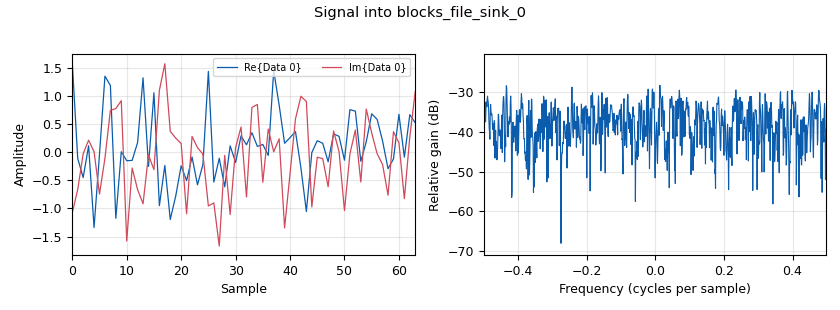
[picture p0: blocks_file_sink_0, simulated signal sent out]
<?xml version='1.0' encoding='utf-8'?>
<?grc format='1' created='3.7.11'?>
<flow_graph>
<block>
<key>options</key>
<param><key>id</key><value>top_block</value></param>
<param><key>generate_options</key><value>no_gui</value></param>
<param><key>run_options</key><value>run</value></param>
</block>
<block>
<key>variable</key>
<param><key>id</key><value>samp_rate</value></param>
<param><key>value</key><value>32000</value></param>
</block>
<block>
<key>analog_noise_source_x</key>
<param><key>id</key><value>analog_noise_source_x_0</value></param>
<param><key>amp</key><value>1</value></param>
<param><key>noise_type</key><value>analog.GR_GAUSSIAN</value></param>
<param><key>type</key><value>complex</value></param>
<param><key>seed</key><value>0</value></param>
</block>
<block>
<key>blocks_file_sink</key>
<param><key>id</key><value>blocks_file_sink_0</value></param>
<param><key>file</key><value>/saves/file-sink-output</value></param>
<param><key>type</key><value>complex</value></param>
</block>
<block>
<key>blocks_head</key>
<param><key>id</key><value>blocks_head_0</value></param>
<param><key>num_items</key><value>1024</value></param>
<param><key>type</key><value>complex</value></param>
</block>
<block>
<key>blocks_throttle</key>
<param><key>id</key><value>blocks_throttle_0</value></param>
<param><key>samples_per_second</key><value>samp_rate</value></param>
<param><key>type</key><value>complex</value></param>
</block>
<connection><source_block_id>analog_noise_source_x_0</source_block_id><sink_block_id>blocks_throttle_0</sink_block_id><source_key>0</source_key><sink_key>0</sink_key></connection>
<connection><source_block_id>blocks_head_0</source_block_id><sink_block_id>blocks_file_sink_0</sink_block_id><source_key>0</source_key><sink_key>0</sink_key></connection>
<connection><source_block_id>blocks_throttle_0</source_block_id><sink_block_id>blocks_head_0</sink_block_id><source_key>0</source_key><sink_key>0</sink_key></connection>
</flow_graph>
